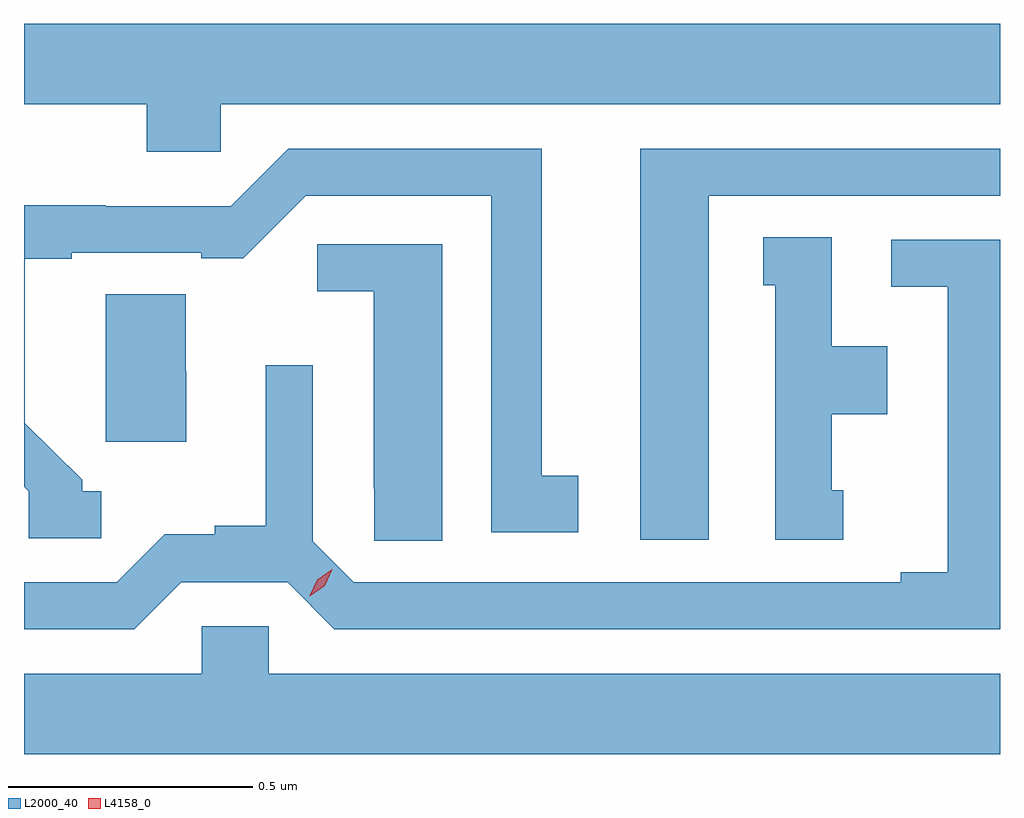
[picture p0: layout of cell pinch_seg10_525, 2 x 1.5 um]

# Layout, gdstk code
import gdstk
lib = gdstk.Library(unit=1e-6, precision=1e-09)
def P(c, l, *ps):  # polygons
    for p in ps: c.add(gdstk.Polygon(p, *l))
L2000_40 = (2000, 40)
L4158_0 = (4158, 0)

pinch_seg10_525 = lib.new_cell('pinch_seg10_525')
P(pinch_seg10_525, L2000_40, [(217.968,1300.316),(219.565,1300.316),(219.565,1300.48),(217.565,1300.48),(217.565,1300.316),(217.817,1300.316),(217.817,1300.218),(217.968,1300.218)],
  [(217.723,1299.522),(217.684,1299.522),(217.684,1299.546),(217.567,1299.662),(217.567,1299.999),(217.663,1299.999),(217.663,1300.011),(217.928,1300.011),(217.928,1300),(218.014,1300),(218.142,1300.128),(218.522,1300.128),(218.522,1299.438),(218.701,1299.438),(218.701,1299.554),(218.626,1299.554),(218.626,1300.224),(218.106,1300.224),(217.989,1300.107),(217.733,1300.107),(217.733,1300.109),(217.565,1300.109),(217.565,1299.532),(217.575,1299.522),(217.575,1299.426),(217.723,1299.426)],
  [(218.968,1300.128),(219.565,1300.128),(219.565,1300.224),(218.828,1300.224),(218.828,1299.423),(218.968,1299.423)],
  [(219.244,1299.525),(219.22,1299.525),(219.22,1299.68),(219.334,1299.68),(219.334,1299.82),(219.22,1299.82),(219.22,1300.043),(219.08,1300.043),(219.08,1299.945),(219.104,1299.945),(219.104,1299.423),(219.244,1299.423)],
  [(217.887,1299.336),(218.105,1299.336),(218.201,1299.24),(219.565,1299.24),(219.565,1300.038),(219.342,1300.038),(219.342,1299.942),(219.458,1299.942),(219.458,1299.356),(219.362,1299.356),(219.362,1299.336),(218.241,1299.336),(218.157,1299.42),(218.157,1299.781),(218.06,1299.781),(218.06,1299.452),(217.956,1299.452),(217.956,1299.434),(217.853,1299.434),(217.755,1299.336),(217.565,1299.336),(217.565,1299.24),(217.791,1299.24)],
  [(218.422,1300.029),(218.166,1300.029),(218.166,1299.932),(218.282,1299.932),(218.282,1299.529),(218.283,1299.529),(218.283,1299.421),(218.422,1299.421)],
  [(217.897,1299.768),(217.896,1299.768),(217.896,1299.926),(217.733,1299.926),(217.733,1299.624),(217.897,1299.624)],
  [(219.565,1299.148),(218.067,1299.148),(218.067,1299.246),(217.929,1299.246),(217.929,1299.148),(217.565,1299.148),(217.565,1298.984),(219.565,1298.984)])
P(pinch_seg10_525, L4158_0, [(218.151,1299.307),(218.151,1299.308),(218.166,1299.341),(218.197,1299.363),(218.197,1299.363),(218.197,1299.363),(218.181,1299.329),(218.151,1299.307)])

lib.write_gds('pinch_seg10_525.gds')
